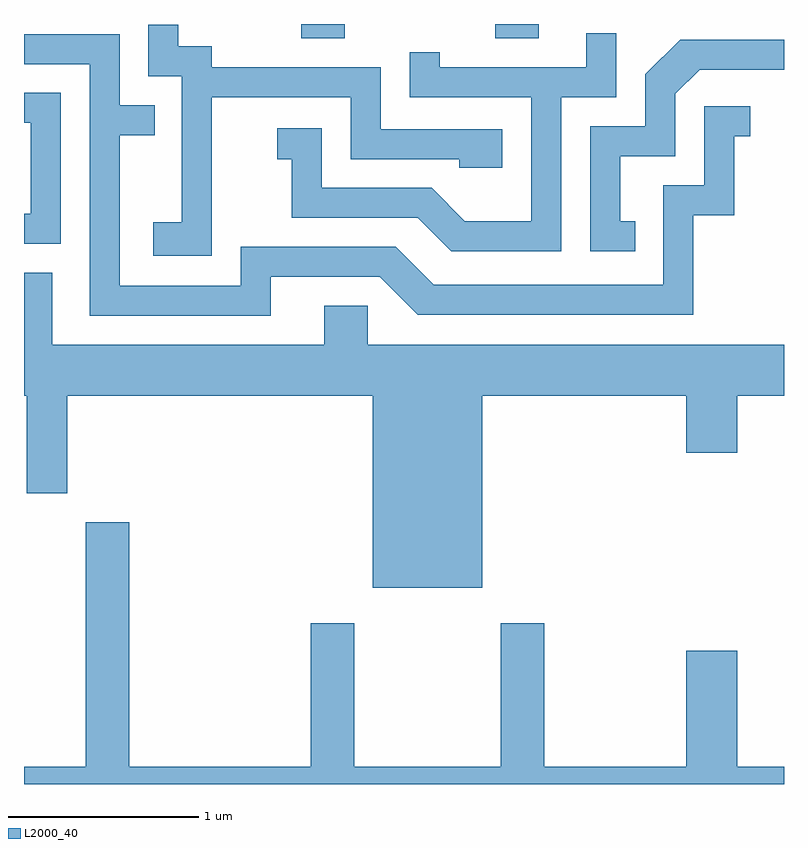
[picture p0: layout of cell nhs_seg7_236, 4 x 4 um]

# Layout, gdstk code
import gdstk
lib = gdstk.Library(unit=1e-6, precision=1e-09)
def R(c, l, rs):  # rectangles x0, y0, x1, y1
    for r in rs: c.add(gdstk.rectangle(r[:2], r[2:], *l))
def P(c, l, *ps):  # polygons
    for p in ps: c.add(gdstk.Polygon(p, *l))
L2000_40 = (2000, 40)

nhs_seg7_236 = lib.new_cell('nhs_seg7_236')
R(nhs_seg7_236, L2000_40, [(193.071,1736.176,193.299,1736.252), (194.091,1736.176,194.319,1736.252)])
P(nhs_seg7_236, L2000_40, [(192.599,1735.866),(193.331,1735.866),(193.331,1735.541),(193.901,1735.541),(193.901,1735.496),(194.129,1735.496),(194.129,1735.699),(193.489,1735.699),(193.489,1736.024),(192.599,1736.024),(192.599,1736.134),(192.424,1736.134),(192.424,1736.248),(192.266,1736.248),(192.266,1735.976),(192.441,1735.976),(192.441,1735.209),(192.291,1735.209),(192.291,1735.031),(192.599,1735.031)],
  [(194.439,1735.866),(194.729,1735.866),(194.729,1736.203),(194.571,1736.203),(194.571,1736.024),(193.799,1736.024),(193.799,1736.103),(193.641,1736.103),(193.641,1735.866),(194.281,1735.866),(194.281,1735.214),(193.932,1735.214),(193.757,1735.389),(193.179,1735.389),(193.179,1735.704),(192.943,1735.704),(192.943,1735.541),(193.021,1735.541),(193.021,1735.231),(193.684,1735.231),(193.859,1735.056),(194.439,1735.056)],
  [(192.909,1734.921),(193.484,1734.921),(193.684,1734.721),(195.134,1734.721),(195.134,1735.246),(195.349,1735.246),(195.349,1735.661),(195.433,1735.661),(195.433,1735.819),(195.191,1735.819),(195.191,1735.404),(194.976,1735.404),(194.976,1734.879),(193.767,1734.879),(193.567,1735.079),(192.751,1735.079),(192.751,1734.874),(192.114,1734.874),(192.114,1735.666),(192.298,1735.666),(192.298,1735.824),(192.114,1735.824),(192.114,1736.199),(191.611,1736.199),(191.611,1736.041),(191.956,1736.041),(191.956,1734.716),(192.909,1734.716)],
  [(194.828,1735.214),(194.749,1735.214),(194.749,1735.556),(195.039,1735.556),(195.039,1735.884),(195.167,1736.011),(195.611,1736.011),(195.611,1736.169),(195.064,1736.169),(194.881,1735.987),(194.881,1735.714),(194.591,1735.714),(194.591,1735.056),(194.828,1735.056)],
  [(191.804,1735.889),(191.611,1735.889),(191.611,1735.731),(191.646,1735.731),(191.646,1735.254),(191.611,1735.254),(191.611,1735.096),(191.804,1735.096)],
  [(194.024,1734.296),(195.096,1734.296),(195.096,1733.996),(195.364,1733.996),(195.364,1734.296),(195.611,1734.296),(195.611,1734.564),(193.419,1734.564),(193.419,1734.769),(193.191,1734.769),(193.191,1734.564),(191.759,1734.564),(191.759,1734.944),(191.611,1734.944),(191.611,1734.296),(191.626,1734.296),(191.626,1733.781),(191.839,1733.781),(191.839,1734.296),(193.446,1734.296),(193.446,1733.286),(194.024,1733.286)],
  [(195.611,1732.344),(195.364,1732.344),(195.364,1732.954),(195.096,1732.954),(195.096,1732.344),(194.349,1732.344),(194.349,1733.099),(194.121,1733.099),(194.121,1732.344),(193.349,1732.344),(193.349,1733.099),(193.121,1733.099),(193.121,1732.344),(192.164,1732.344),(192.164,1733.629),(191.936,1733.629),(191.936,1732.344),(191.611,1732.344),(191.611,1732.252),(195.611,1732.252)])

lib.write_gds('nhs_seg7_236.gds')
